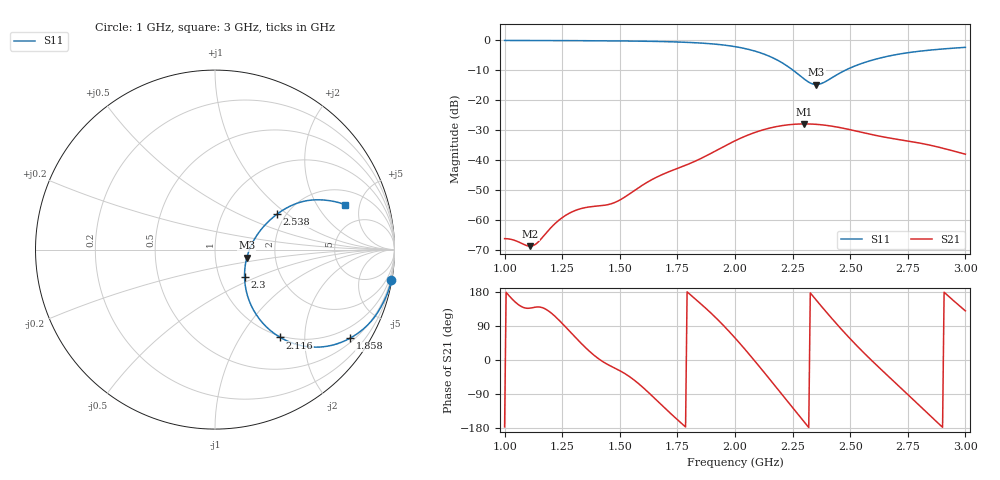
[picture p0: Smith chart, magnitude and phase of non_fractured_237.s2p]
! TOUCHSTONE file generated by CST MICROWAVE STUDIO
! Date and time: Sat Mar  8 13:55:42 2025
! Project name: non_fractured.cst
! Parameters = {B=2.5; D=160; F=25; Feed=2.85625; L=100; M=20; R=0.384908; S=2.5; Theta=0; length=57.125; wave=114.25}
! Header version: 2024
! Port assignment regex: !\s*Touchstone port\s*([0-9]+)\s*=\s*(CST MWS port|CST DES external port|CST DES block port)\s*(.+)\s* \(\"(.*)\"\)(\s*mode\s*([0-9]+))?.*
! Touchstone port assignment:
! Touchstone port 1 = CST MWS port 1 ("")
! Touchstone port 2 = CST MWS port 2 ("")
# GHz S DB R 50
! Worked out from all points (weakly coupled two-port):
!   304 points, 1 GHz to 3 GHz, reference 50 ohm
!   highest |S21| = -27.94 dB at 2.3 GHz (marker M1); lowest = -68.8 dB at 1.112 GHz (marker M2)
!   lowest |S11| = -14.8 dB at 2.353 GHz (marker M3), VSWR 1.45, Z = 71.1 - j6.68 ohm
!   |S11| at or under -10 dB: 2.252 GHz to 2.478 GHz (225.9 MHz wide, 9.55 % of centre)
!   S12 and S22 are empty: the file has one direction only
!   S11 on the Smith chart (normalised r, x): 1 GHz: 0, -12; 1.858 GHz: 0.62, -3.23; 2.116 GHz: 0.97, -1.52; 2.3 GHz: 1.31, -0.43; 2.538 GHz: 1.80, +0.84; 3 GHz: 2.98, +3.59
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1  -0.02 -9.8  -66.32 -176.5  -200.00 0.0  -200.00 0.0
1.0396  -0.02 -10.3  -66.80 156.6  -200.00 0.0  -200.00 0.0
1.11221  -0.03 -11.3  -68.84 137.0  -200.00 0.0  -200.00 0.0
1.14521  -0.04 -11.8  -67.49 140.0  -200.00 0.0  -200.00 0.0
1.21122  -0.06 -12.9  -61.86 119.4  -200.00 0.0  -200.00 0.0
1.25083  -0.07 -13.6  -59.26 96.0  -200.00 0.0  -200.00 0.0
1.33663  -0.10 -15.2  -56.17 41.3  -200.00 0.0  -200.00 0.0
1.48185  -0.17 -18.4  -54.11 -22.6  -200.00 0.0  -200.00 0.0
1.66667  -0.35 -24.1  -45.50 -110.1  -200.00 0.0  -200.00 0.0
1.85809  -0.92 -33.3  -39.28 144.8  -200.00 0.0  -200.00 0.0
2.0033  -2.13 -44.0  -33.46 56.0  -200.00 0.0  -200.00 0.0
2.11551  -4.30 -53.4  -30.07 -24.4  -200.00 0.0  -200.00 0.0
2.20792  -7.65 -57.6  -28.47 -93.9  -200.00 0.0  -200.00 0.0
2.30033  -12.92 -43.2  -27.94 -163.4  -200.00 0.0  -200.00 0.0
2.33993  -14.63 -22.6  -28.02 167.3  -200.00 0.0  -200.00 0.0
2.35314  -14.76 -14.4  -28.08 157.6  -200.00 0.0  -200.00 0.0
2.38614  -14.05 4.3  -28.33 133.8  -200.00 0.0  -200.00 0.0
2.43894  -11.65 21.2  -28.93 96.7  -200.00 0.0  -200.00 0.0
2.53795  -8.04 29.7  -30.54 32.0  -200.00 0.0  -200.00 0.0
2.66997  -5.20 28.9  -32.65 -45.4  -200.00 0.0  -200.00 0.0
2.84158  -3.29 23.6  -34.97 -143.8  -200.00 0.0  -200.00 0.0
3  -2.32 19.1  -38.07 129.7  -200.00 0.0  -200.00 0.0
